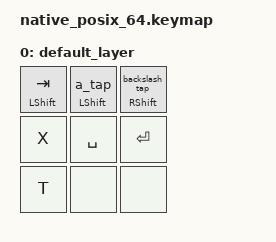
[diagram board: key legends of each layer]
#include <dt-bindings/zmk/keys.h>
#include <behaviors.dtsi>
#include <dt-bindings/zmk/kscan_mock.h>
#include <dt-bindings/zmk/modifiers.h>

/ {
    behaviors {
        ht: hold_tap {
            label = "hold_tap";
            compatible = "zmk,behavior-hold-tap";
            #binding-cells = <2>;
            flavor = "balanced";
            tapping-term-ms = <175>;
            quick-tap-ms = <125>;
            bindings = <&kp>, <&kp>;
        };
        a_caps_dance: a_caps_dance {
            compatible = "zmk,behavior-tap-dance";
            #binding-cells = <0>;
            tapping-term-ms = <200>;
            bindings = <&kp A>, <&caps_word>;
        };
        backslash_caps_dance: backslash_caps_dance {
            compatible = "zmk,behavior-tap-dance";
            #binding-cells = <0>;
            tapping-term-ms = <200>;
            bindings = <&kp BSLH>, <&caps_word>;
        };
        a_tap: a_tap {
            compatible = "zmk,behavior-mod-morph";
            #binding-cells = <0>;
            bindings = <&a_caps_dance>, <&kp A>;
            mods = <(MOD_LSFT | MOD_RSFT)>;
            keep-mods = <(MOD_LSFT | MOD_RSFT)>;
        };
        backslash_tap: backslash_tap {
            compatible = "zmk,behavior-mod-morph";
            #binding-cells = <0>;
            bindings = <&backslash_caps_dance>, <&kp BSLH>;
            mods = <(MOD_LSFT | MOD_RSFT)>;
            keep-mods = <(MOD_LSFT | MOD_RSFT)>;
        };
        shift_a: shift_a {
            compatible = "zmk,behavior-hold-tap";
            #binding-cells = <2>;
            flavor = "balanced";
            tapping-term-ms = <190>;
            quick-tap-ms = <120>;
            require-prior-idle-ms = <100>;
            bindings = <&kp>, <&a_tap>;
        };
        shift_backslash: shift_backslash {
            compatible = "zmk,behavior-hold-tap";
            #binding-cells = <2>;
            flavor = "balanced";
            tapping-term-ms = <190>;
            quick-tap-ms = <120>;
            require-prior-idle-ms = <100>;
            bindings = <&kp>, <&backslash_tap>;
        };
    };
    keymap {
        compatible = "zmk,keymap";
        default_layer {
            bindings = <
                &ht LSHFT TAB &shift_a LSHFT 0 &shift_backslash RSHFT 0
                &kp X         &kp SPACE        &kp RET
                &kp T         &none            &none
            >;
        };
    };
};

&kscan {
    rows = <3>;
    columns = <3>;
    events = <
        // Rapid Tab taps remain individual Tabs and do not enable Caps Word.
        ZMK_MOCK_PRESS(0,0,30) ZMK_MOCK_RELEASE(0,0,30)
        ZMK_MOCK_PRESS(0,0,30) ZMK_MOCK_RELEASE(0,0,30)
        ZMK_MOCK_PRESS(0,0,30) ZMK_MOCK_RELEASE(0,0,30)
        ZMK_MOCK_PRESS(1,0,20) ZMK_MOCK_RELEASE(1,0,300)

        // The Tab thumb still holds Shift.
        ZMK_MOCK_PRESS(0,0,40) ZMK_MOCK_PRESS(1,0,40)
        ZMK_MOCK_RELEASE(1,0,10) ZMK_MOCK_RELEASE(0,0,300)

        // Single taps retain A and backslash.
        ZMK_MOCK_PRESS(0,1,40) ZMK_MOCK_RELEASE(0,1,300)
        ZMK_MOCK_PRESS(0,2,40) ZMK_MOCK_RELEASE(0,2,300)

        // Each outer home-row key enables Caps Word on a double tap.
        ZMK_MOCK_PRESS(0,1,40) ZMK_MOCK_RELEASE(0,1,50)
        ZMK_MOCK_PRESS(0,1,40) ZMK_MOCK_RELEASE(0,1,40)
        ZMK_MOCK_PRESS(1,0,20) ZMK_MOCK_RELEASE(1,0,20)
        ZMK_MOCK_PRESS(1,1,20) ZMK_MOCK_RELEASE(1,1,300)
        ZMK_MOCK_PRESS(0,2,40) ZMK_MOCK_RELEASE(0,2,50)
        ZMK_MOCK_PRESS(0,2,40) ZMK_MOCK_RELEASE(0,2,40)
        ZMK_MOCK_PRESS(1,0,20) ZMK_MOCK_RELEASE(1,0,20)
        ZMK_MOCK_PRESS(1,1,20) ZMK_MOCK_RELEASE(1,1,300)

        // Both home-row keys still hold their respective Shift modifiers.
        ZMK_MOCK_PRESS(0,1,40) ZMK_MOCK_PRESS(1,0,40)
        ZMK_MOCK_RELEASE(1,0,10) ZMK_MOCK_RELEASE(0,1,300)
        ZMK_MOCK_PRESS(0,2,40) ZMK_MOCK_PRESS(1,0,40)
        ZMK_MOCK_RELEASE(1,0,10) ZMK_MOCK_RELEASE(0,2,300)

        // A fast A-X roll stays in order and does not become Shift or Caps Word.
        ZMK_MOCK_PRESS(0,1,20) ZMK_MOCK_RELEASE(0,1,20)
        ZMK_MOCK_PRESS(1,0,20) ZMK_MOCK_RELEASE(1,0,300)

        // Tab ends Caps Word without reactivating it.
        ZMK_MOCK_PRESS(0,1,40) ZMK_MOCK_RELEASE(0,1,50)
        ZMK_MOCK_PRESS(0,1,40) ZMK_MOCK_RELEASE(0,1,300)
        ZMK_MOCK_PRESS(0,0,30) ZMK_MOCK_RELEASE(0,0,30)
        ZMK_MOCK_PRESS(0,0,30) ZMK_MOCK_RELEASE(0,0,30)
        ZMK_MOCK_PRESS(1,0,20) ZMK_MOCK_RELEASE(1,0,300)

        // Double-tapping either home-row key again toggles Caps Word off.
        ZMK_MOCK_PRESS(0,1,40) ZMK_MOCK_RELEASE(0,1,50)
        ZMK_MOCK_PRESS(0,1,40) ZMK_MOCK_RELEASE(0,1,300)
        ZMK_MOCK_PRESS(0,2,40) ZMK_MOCK_RELEASE(0,2,50)
        ZMK_MOCK_PRESS(0,2,40) ZMK_MOCK_RELEASE(0,2,40)
        ZMK_MOCK_PRESS(1,0,20) ZMK_MOCK_RELEASE(1,0,300)

        // After typing, fast thumb Shift+A must emit A before Shift releases.
        ZMK_MOCK_PRESS(1,0,20) ZMK_MOCK_RELEASE(1,0,10)
        ZMK_MOCK_PRESS(0,0,20) ZMK_MOCK_PRESS(0,1,30)
        ZMK_MOCK_RELEASE(0,1,10) ZMK_MOCK_RELEASE(0,0,300)

        // The same timing with T is the control case.
        ZMK_MOCK_PRESS(1,0,20) ZMK_MOCK_RELEASE(1,0,10)
        ZMK_MOCK_PRESS(0,0,20) ZMK_MOCK_PRESS(2,0,30)
        ZMK_MOCK_RELEASE(2,0,10) ZMK_MOCK_RELEASE(0,0,300)

        // Backslash has the same Caps Word dance and must also stay shifted.
        ZMK_MOCK_PRESS(1,0,20) ZMK_MOCK_RELEASE(1,0,10)
        ZMK_MOCK_PRESS(0,0,20) ZMK_MOCK_PRESS(0,2,30)
        ZMK_MOCK_RELEASE(0,2,10) ZMK_MOCK_RELEASE(0,0,300)
    >;
};
